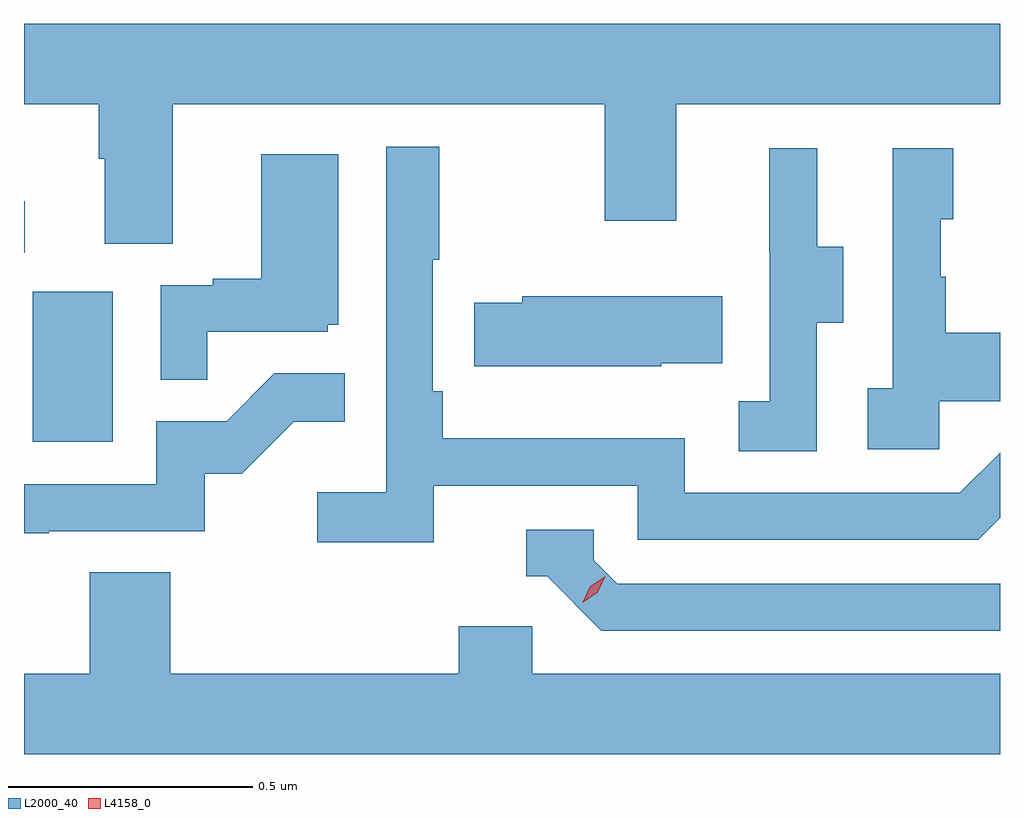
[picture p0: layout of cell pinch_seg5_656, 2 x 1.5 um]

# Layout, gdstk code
import gdstk
lib = gdstk.Library(unit=1e-6, precision=1e-09)
def R(c, l, rs):  # rectangles x0, y0, x1, y1
    for r in rs: c.add(gdstk.rectangle(r[:2], r[2:], *l))
def P(c, l, *ps):  # polygons
    for p in ps: c.add(gdstk.Polygon(p, *l))
L2000_40 = (2000, 40)
L4158_0 = (4158, 0)

pinch_seg5_656 = lib.new_cell('pinch_seg5_656')
R(pinch_seg5_656, L2000_40, [(1045.994,842.748,1046.158,843.055), (1045.976,843.135,1045.978,843.241)])
P(pinch_seg5_656, L2000_40, [(1046.281,843.44),(1047.166,843.44),(1047.166,843.201),(1047.313,843.201),(1047.313,843.44),(1047.976,843.44),(1047.976,843.604),(1045.976,843.604),(1045.976,843.44),(1046.129,843.44),(1046.129,843.328),(1046.141,843.328),(1046.141,843.154),(1046.281,843.154)],
  [(1046.816,842.658),(1047.234,842.658),(1047.234,842.547),(1047.931,842.547),(1047.976,842.592),(1047.976,842.725),(1047.894,842.643),(1047.33,842.643),(1047.33,842.755),(1046.834,842.755),(1046.834,842.851),(1046.814,842.851),(1046.814,843.121),(1046.827,843.121),(1046.827,843.352),(1046.718,843.352),(1046.718,842.644),(1046.577,842.644),(1046.577,842.542),(1046.816,842.542)],
  [(1047.6,842.992),(1047.655,842.992),(1047.655,843.147),(1047.601,843.147),(1047.601,843.349),(1047.503,843.349),(1047.503,843.135),(1047.504,843.135),(1047.504,842.831),(1047.441,842.831),(1047.441,842.728),(1047.6,842.728)],
  [(1047.852,842.831),(1047.976,842.831),(1047.976,842.971),(1047.865,842.971),(1047.865,843.086),(1047.855,843.086),(1047.855,843.204),(1047.88,843.204),(1047.88,843.349),(1047.756,843.349),(1047.756,842.858),(1047.705,842.858),(1047.705,842.733),(1047.852,842.733)],
  [(1046.351,842.973),(1046.598,842.973),(1046.598,842.988),(1046.62,842.988),(1046.62,843.337),(1046.462,843.337),(1046.462,843.082),(1046.363,843.082),(1046.363,843.069),(1046.256,843.069),(1046.256,842.875),(1046.351,842.875)],
  [(1047.282,842.909),(1047.407,842.909),(1047.407,843.046),(1046.997,843.046),(1046.997,843.033),(1046.899,843.033),(1046.899,842.903),(1047.282,842.903)],
  [(1046.027,842.565),(1046.346,842.565),(1046.346,842.682),(1046.422,842.682),(1046.529,842.789),(1046.633,842.789),(1046.633,842.888),(1046.489,842.888),(1046.391,842.79),(1046.247,842.79),(1046.247,842.661),(1045.976,842.661),(1045.976,842.56),(1046.027,842.56)],
  [(1047.976,842.458),(1047.975,842.457),(1047.192,842.457),(1047.144,842.505),(1047.144,842.568),(1047.005,842.568),(1047.005,842.472),(1047.048,842.472),(1047.159,842.361),(1047.976,842.361)],
  [(1047.976,842.272),(1047.018,842.272),(1047.018,842.37),(1046.867,842.37),(1046.867,842.272),(1046.276,842.272),(1046.276,842.48),(1046.111,842.48),(1046.111,842.272),(1045.976,842.272),(1045.976,842.108),(1047.976,842.108)])
P(pinch_seg5_656, L4158_0, [(1047.121,842.418),(1047.121,842.419),(1047.136,842.452),(1047.167,842.472),(1047.167,842.472),(1047.167,842.472),(1047.152,842.439),(1047.121,842.418)])

lib.write_gds('pinch_seg5_656.gds')
